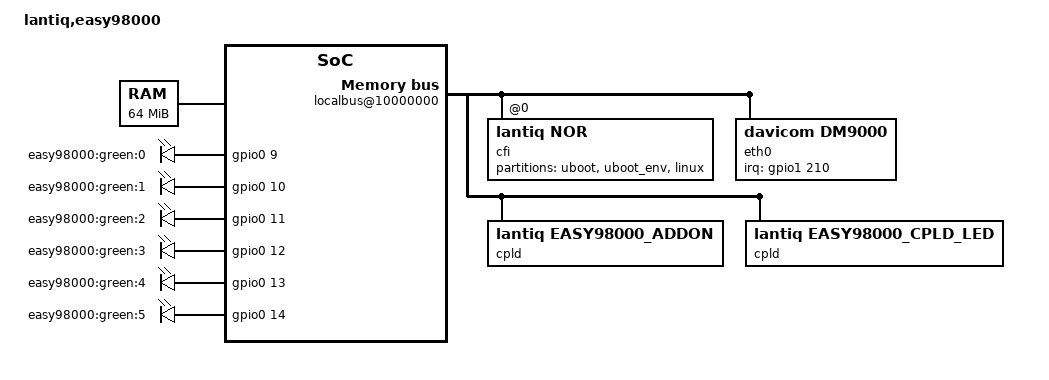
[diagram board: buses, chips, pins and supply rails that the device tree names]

/include/ "falcon.dtsi"

/ {
	model = "lantiq,easy98000";

	chosen {
		// don't set bootargs
		// bootargs = "console=ttyLTQ0,115200 init=/etc/preinit";
	};
	
	alias {
		ethernet0 = &eth0;
	};

	memory@0 {
		reg = <0x0 0x4000000>;  // 64M at 0x0
	};

	localbus@10000000 {
		#address-cells = <1>;
		#size-cells = <1>;
		compatible = "lantiq,localbus", "simple-bus";
		reg = <0x10000000 0xC000000>;
		ranges = <0x0 0x10000000 0xC000000>;

		cfi@0 {
			compatible = "lantiq,nor";
			bank-width = <2>;
			reg = <0x0 0x4000000>;
			#address-cells = <1>;
			#size-cells = <1>;

			partition@0 {
				label = "uboot";
				reg = <0x00000 0x40000>;
			};

			partition@10000 {
				label = "uboot_env";
				reg = <0x40000 0x40000>;
			};

			partition@20000 {
				label = "linux";
				reg = <0x80000 0x3d0000>;
			};
		};

		eth0: ethernet@4000000 {
			compatible = "davicom,dm9000";
			device_type = "network";
			reg = <0x4000003 0x1>, <0x4000001 0x1>;
			reg-names = "addr", "data";
			interrupt-parent = <&gpio1>;
			// FIXME: this is the mapped irq number
			// as irqdomain for gpio not working yet
			interrupts = <210 0x8>; 
			local-mac-address = [ 00 00 00 00 00 00 ];
		};

		cpld@7c00000 {
			compatible = "lantiq,easy98000_addon";
		};

		cpld@7c0000c {
			compatible = "lantiq,easy98000_cpld_led";
		};

	};

	easy98000-leds {
		compatible = "gpio-leds";

		LED_0 {
			label = "easy98000:green:0";
			gpios = <&gpio0 9 0>;
			default-state = "keep";
		};
		LED_1 {
			label = "easy98000:green:1";
			gpios = <&gpio0 10 0>;
			default-state = "keep";
		};
		LED_2 {
			label = "easy98000:green:2";
			gpios = <&gpio0 11 0>;
			default-state = "keep";
		};
		LED_3 {
			label = "easy98000:green:3";
			gpios = <&gpio0 12 0>;
			default-state = "keep";
		};
		LED_4 {
			label = "easy98000:green:4";
			gpios = <&gpio0 13 0>;
			default-state = "keep";
		};
		LED_5 {
			label = "easy98000:green:5";
			gpios = <&gpio0 14 0>;
			linux,default-trigger = "heartbeat";
		};
	};
};
